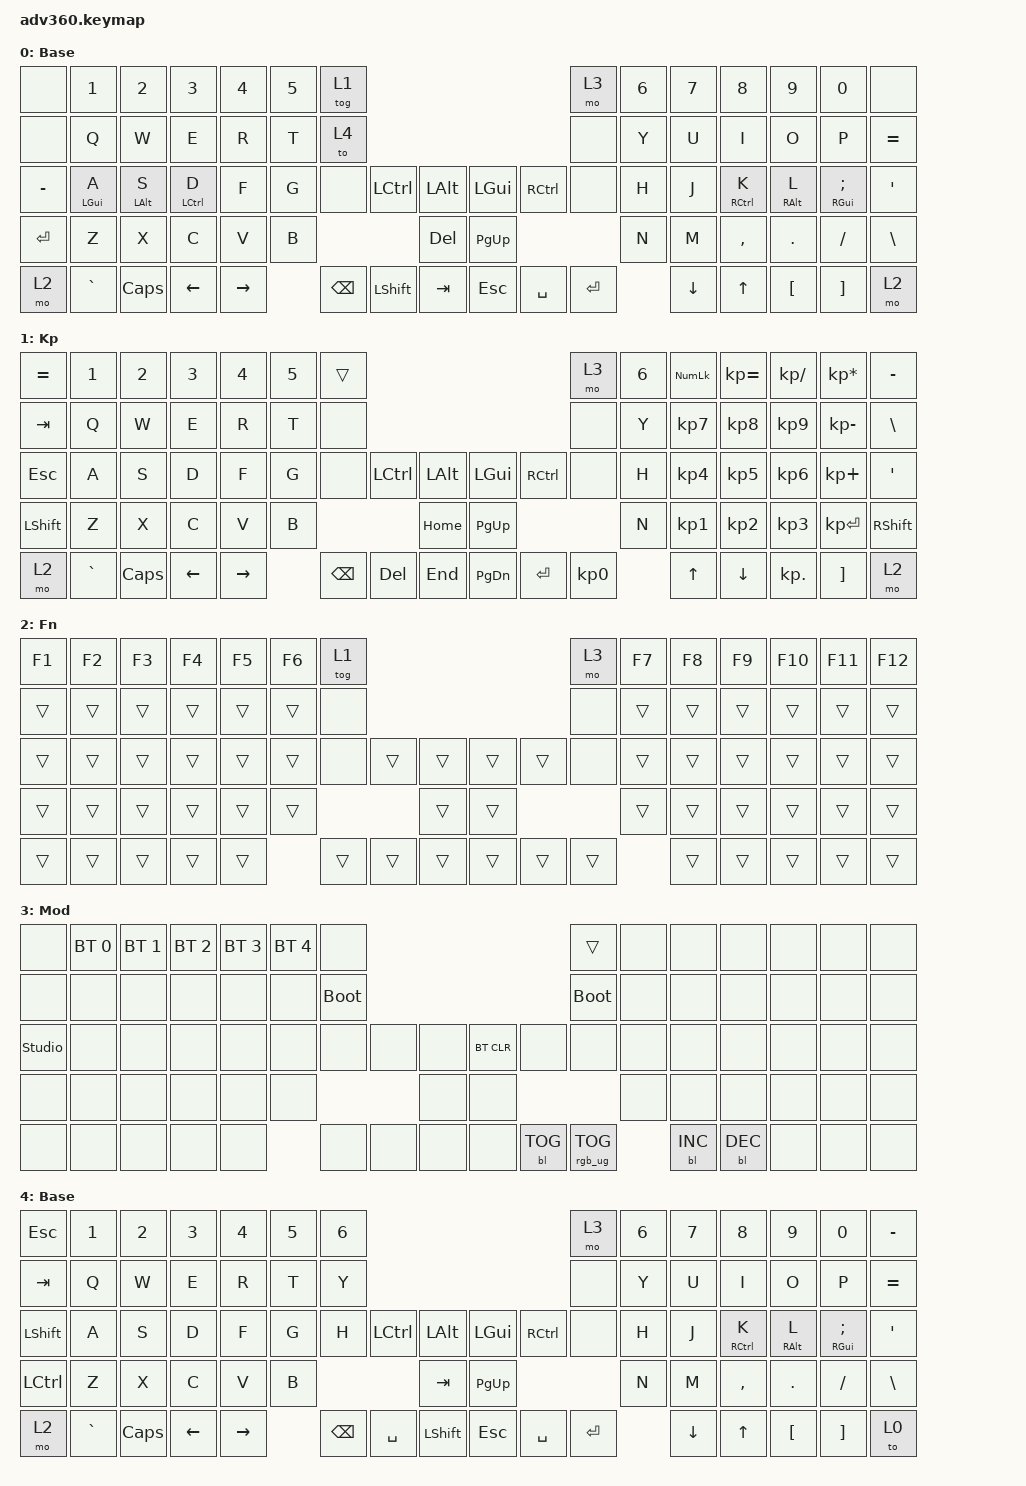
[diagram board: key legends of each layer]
#include <dt-bindings/zmk/stp.h>
#include <behaviors.dtsi>
#include <dt-bindings/zmk/backlight.h>
#include <dt-bindings/zmk/bt.h>
#include <dt-bindings/zmk/keys.h>
#include <dt-bindings/zmk/rgb.h>

/ {
    behaviors {
        #include "macros.dtsi"
      #include "version.dtsi"

        hm: homerow_mods {
            compatible = "zmk,behavior-hold-tap";
            label = "HOMEROW_MODS";
            #binding-cells = <2>;
            tapping-term-ms = <200>;
            quick_tap_ms = <175>;
            flavor = "tap-preferred";
            bindings = <&kp>, <&kp>;
        };
    };

    keymap {
        compatible = "zmk,keymap";

        default_layer {
            display-name = "Base";
            bindings = <
&none      &kp N1          &kp N2          &kp N3       &kp N4     &kp N5  &tog 1                                                           &mo 3    &kp N6  &kp N7          &kp N8        &kp N9           &kp N0                   &none
&none      &kp Q           &kp W           &kp E        &kp R      &kp T   &to 4                                                            &none    &kp Y   &kp U           &kp I         &kp O            &kp P                    &kp EQUAL
&kp MINUS  &hm LEFT_GUI A  &hm LEFT_ALT S  &hm LCTRL D  &kp F      &kp G   &none     &kp LCTRL       &kp LALT        &kp LGUI    &kp RCTRL  &none    &kp H   &kp J           &hm RCTRL K   &hm RIGHT_ALT L  &hm RIGHT_GUI SEMICOLON  &kp SQT
&kp ENTER  &kp Z           &kp X           &kp C        &kp V      &kp B                             &kp DELETE      &kp PG_UP                       &kp N   &kp M           &kp COMMA     &kp DOT          &kp FSLH                 &kp BACKSLASH
&mo 2      &kp GRAVE       &kp CAPS        &kp LEFT     &kp RIGHT          &kp BSPC  &kp LEFT_SHIFT  &kp TAB         &kp ESCAPE  &kp SPACE  &kp RET          &kp DOWN_ARROW  &kp UP_ARROW  &kp LBKT         &kp RBKT                 &mo 2
            >;
        };

        keypad {
            display-name = "Kp";
            bindings = <
&kp EQUAL  &kp N1     &kp N2    &kp N3    &kp N4     &kp N5  &trans                                                   &mo 3      &kp N6  &kp KP_NUM  &kp KP_EQUAL  &kp KP_DIVIDE  &kp KP_MULTIPLY  &kp MINUS
&kp TAB    &kp Q      &kp W     &kp E     &kp R      &kp T   &none                                                    &none      &kp Y   &kp KP_N7   &kp KP_N8     &kp KP_N9      &kp KP_MINUS     &kp BSLH
&kp ESC    &kp A      &kp S     &kp D     &kp F      &kp G   &none     &kp LCTRL  &kp LALT      &kp LGUI   &kp RCTRL  &none      &kp H   &kp KP_N4   &kp KP_N5     &kp KP_N6      &kp KP_PLUS      &kp SQT
&kp LSHFT  &kp Z      &kp X     &kp C     &kp V      &kp B                        &kp HOME      &kp PG_UP                        &kp N   &kp KP_N1   &kp KP_N2     &kp KP_N3      &kp KP_ENTER     &kp RSHFT
&mo 2      &kp GRAVE  &kp CAPS  &kp LEFT  &kp RIGHT          &kp BSPC  &kp DEL    &kp END       &kp PG_DN  &kp ENTER  &kp KP_N0          &kp UP      &kp DOWN      &kp KP_DOT     &kp RBKT         &mo 2
            >;
        };

        fn {
            display-name = "Fn";
            bindings = <
&kp F1  &kp F2  &kp F3  &kp F4  &kp F5  &kp F6  &tog 1                                      &mo 3   &kp F7  &kp F8  &kp F9  &kp F10  &kp F11  &kp F12
&trans  &trans  &trans  &trans  &trans  &trans  &none                                       &none   &trans  &trans  &trans  &trans   &trans   &trans
&trans  &trans  &trans  &trans  &trans  &trans  &none   &trans  &trans      &trans  &trans  &none   &trans  &trans  &trans  &trans   &trans   &trans
&trans  &trans  &trans  &trans  &trans  &trans                  &trans      &trans                  &trans  &trans  &trans  &trans   &trans   &trans
&trans  &trans  &trans  &trans  &trans          &trans  &trans  &trans      &trans  &trans  &trans          &trans  &trans  &trans   &trans   &trans
            >;
        };

        mod {
            display-name = "Mod";
            bindings = <
&none           &bt BT_SEL 0  &bt BT_SEL 1  &bt BT_SEL 2  &bt BT_SEL 3  &bt BT_SEL 4  &none                                                  &trans           &none  &none       &none       &none  &none  &none
&none           &none         &none         &none         &none         &none         &bootloader                                            &bootloader      &none  &none       &none       &none  &none  &none
&studio_unlock  &none         &none         &none         &none         &none         &none        &none  &none      &bt BT_CLR  &none       &none            &none  &none       &none       &none  &none  &none
&none           &none         &none         &none         &none         &none                             &none      &none                                    &none  &none       &none       &none  &none  &none
&none           &none         &none         &none         &none                       &none        &none  &none      &none       &bl BL_TOG  &rgb_ug RGB_TOG         &bl BL_INC  &bl BL_DEC  &none  &none  &none
            >;
        };

        game {
            display-name = "Base";
            bindings = <
&kp ESCAPE      &kp N1     &kp N2    &kp N3    &kp N4     &kp N5  &kp NUMBER_6                                                        &mo 3    &kp N6  &kp N7          &kp N8        &kp N9           &kp N0                   &kp MINUS
&kp TAB         &kp Q      &kp W     &kp E     &kp R      &kp T   &kp Y                                                               &none    &kp Y   &kp U           &kp I         &kp O            &kp P                    &kp EQUAL
&kp LEFT_SHIFT  &kp A      &kp S     &kp D     &kp F      &kp G   &kp H         &kp LCTRL  &kp LALT            &kp LGUI    &kp RCTRL  &none    &kp H   &kp J           &hm RCTRL K   &hm RIGHT_ALT L  &hm RIGHT_GUI SEMICOLON  &kp SQT
&kp LCTRL       &kp Z      &kp X     &kp C     &kp V      &kp B                            &kp TAB             &kp PG_UP                       &kp N   &kp M           &kp COMMA     &kp DOT          &kp FSLH                 &kp BACKSLASH
&mo 2           &kp GRAVE  &kp CAPS  &kp LEFT  &kp RIGHT          &kp BSPC      &kp SPACE  &kp LEFT_SHIFT      &kp ESCAPE  &kp SPACE  &kp RET          &kp DOWN_ARROW  &kp UP_ARROW  &kp LBKT         &kp RBKT                 &to 0
            >;
        };
    };
};
